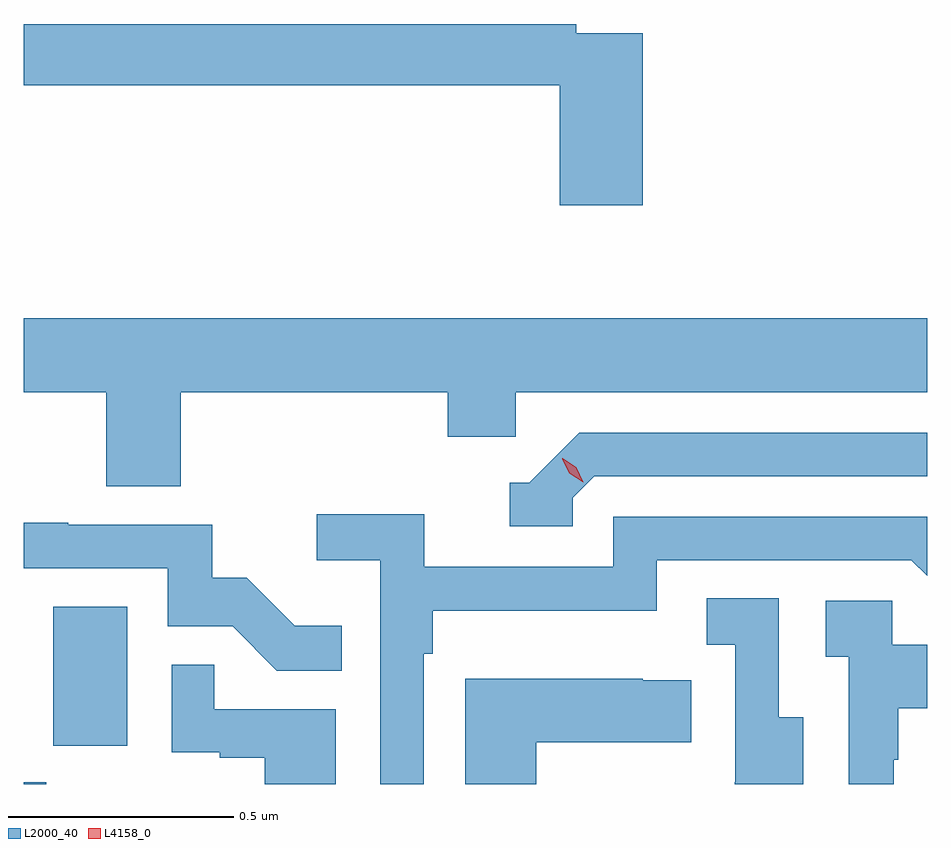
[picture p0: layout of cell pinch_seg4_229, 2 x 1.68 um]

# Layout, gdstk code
import gdstk
lib = gdstk.Library(unit=1e-6, precision=1e-09)
def R(c, l, rs):  # rectangles x0, y0, x1, y1
    for r in rs: c.add(gdstk.rectangle(r[:2], r[2:], *l))
def P(c, l, *ps):  # polygons
    for p in ps: c.add(gdstk.Polygon(p, *l))
L2000_40 = (2000, 40)
L4158_0 = (4158, 0)

pinch_seg4_229 = lib.new_cell('pinch_seg4_229')
R(pinch_seg4_229, L2000_40, [(1001.751,814.601,1001.8,814.605), (1001.816,814.686,1001.98,814.993)])
P(pinch_seg4_229, L2000_40, [(1003.121,816.264),(1002.974,816.264),(1002.974,816.284),(1001.751,816.284),(1001.751,816.148),(1002.938,816.148),(1002.938,815.883),(1003.121,815.883)],
  [(1002.098,815.468),(1002.689,815.468),(1002.689,815.37),(1002.84,815.37),(1002.84,815.468),(1003.751,815.468),(1003.751,815.632),(1001.751,815.632),(1001.751,815.468),(1001.933,815.468),(1001.933,815.26),(1002.098,815.26)],
  [(1002.966,815.235),(1003.014,815.283),(1003.751,815.283),(1003.751,815.379),(1002.981,815.379),(1002.87,815.268),(1002.827,815.268),(1002.827,815.172),(1002.966,815.172)],
  [(1002.636,814.889),(1002.656,814.889),(1002.656,814.985),(1003.152,814.985),(1003.152,815.097),(1003.716,815.097),(1003.751,815.062),(1003.751,815.193),(1003.056,815.193),(1003.056,815.082),(1002.638,815.082),(1002.638,815.198),(1002.399,815.198),(1002.399,815.096),(1002.54,815.096),(1002.54,814.601),(1002.636,814.601)],
  [(1002.455,814.951),(1002.351,814.951),(1002.244,815.058),(1002.168,815.058),(1002.168,815.175),(1001.849,815.175),(1001.849,815.18),(1001.751,815.18),(1001.751,815.079),(1002.069,815.079),(1002.069,814.95),(1002.213,814.95),(1002.311,814.852),(1002.455,814.852)],
  [(1003.477,814.749),(1003.422,814.749),(1003.422,815.012),(1003.263,815.012),(1003.263,814.909),(1003.326,814.909),(1003.326,814.605),(1003.325,814.605),(1003.325,814.601),(1003.477,814.601)],
  [(1003.677,814.655),(1003.687,814.655),(1003.687,814.769),(1003.751,814.769),(1003.751,814.909),(1003.674,814.909),(1003.674,815.007),(1003.527,815.007),(1003.527,814.883),(1003.578,814.883),(1003.578,814.601),(1003.677,814.601)],
  [(1002.442,814.767),(1002.173,814.767),(1002.173,814.865),(1002.078,814.865),(1002.078,814.671),(1002.185,814.671),(1002.185,814.659),(1002.284,814.659),(1002.284,814.601),(1002.442,814.601)],
  [(1002.886,814.694),(1003.229,814.694),(1003.229,814.831),(1003.121,814.831),(1003.121,814.834),(1002.728,814.834),(1002.728,814.601),(1002.886,814.601)])
P(pinch_seg4_229, L4158_0, [(1002.99,815.269),(1002.959,815.289),(1002.943,815.321),(1002.943,815.322),(1002.944,815.322),(1002.974,815.302),(1002.99,815.269),(1002.99,815.269)])

lib.write_gds('pinch_seg4_229.gds')
